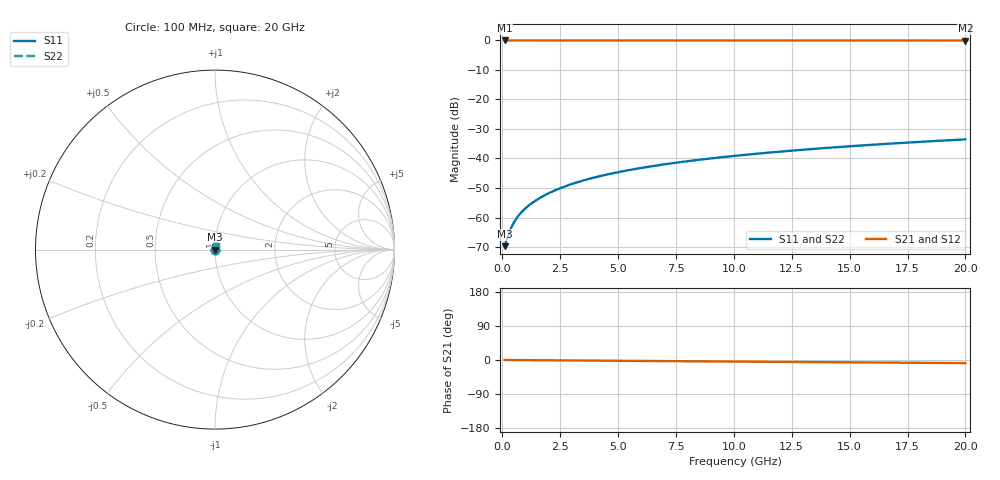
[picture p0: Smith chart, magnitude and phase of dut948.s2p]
! Touchstone file exported from HFSS 2026.1.0
!  File:  C:/ffzhzh/LocalFiles/Ansys_Project_Files/temp_train_TSV_948_1783187226_51560.aedt
!  Generated:  01:48:48 AM Jul  5, 2026
!  Design:  TSV
!  Project:  temp_train_TSV_948_1783187226_51560
! Variables:
!  h_bsmrdl = 2um
!  h_ox = 20um
!  h_rdl = 5um
!  h_sub = 84.06um
!  h_tmrdl = 5um
!  h_tsv = 84.06um
!  h_via = 3um
!  l_bsmrdl = 300um
!  l_sub = 412.42um
!  l_tmrdl = 200um
!  m_sub = 200um
!  pitch = 30.58um
!  r_tsv = 6.21um
!  s_tmrdl = 10um
!  w_bsmrdl = 18um
!  w_sub = 500um
!  w_tmrdl = 12um
!  x_tsv_center1 = 206um
!  x_tsv_center2 = 524um
!  x_tsv_center3 = 736um
!  x_tsv_center4 = 1054um
!  x_tsv_center5 = 1266um
!  x_tsv_center6 = 1584um
# GHz S MA R 50.000000
! Terminal data exported
! Port[1] = TSV1_1_T1
! Port[2] = TSV1_1_T2
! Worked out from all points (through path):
!   200 points, 100 MHz to 20 GHz, reference 50 ohm
!   highest |S21| = 0.00 dB at 100 MHz (marker M1); lowest = 0.0 dB at 20 GHz (marker M2)
!   group delay of S21, straight-line fit = 1.13 ps
!   lowest |S11| = -69.7 dB at 100 MHz (marker M3), VSWR 1.00, Z = 50 + j0.0156 ohm
!   |S11| at or under -10 dB: start of sweep to end of sweep
!   |S22| runs from -69.7 to -33.5 dB; largest |S21 - S12| = 2e-15
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0.1  0.000327 28.4  0.9997 -0.0  0.9997 -0.0  0.000327 28.4
! Gamma 0 0 0 0
! Port Impedance 50 0 50 0
0.3  0.0005572 54.9  0.9997 -0.1  0.9997 -0.1  0.0005572 54.9
0.4  0.0006894 60.0  0.9997 -0.2  0.9997 -0.2  0.0006894 60.0
0.5  0.0008208 63.2  0.9996 -0.2  0.9996 -0.2  0.0008208 63.2
0.6  0.0009491 65.3  0.9996 -0.3  0.9996 -0.3  0.0009491 65.3
0.8  0.001196 68.1  0.9996 -0.3  0.9996 -0.3  0.001196 68.1
1.1  0.001549 70.7  0.9995 -0.5  0.9995 -0.5  0.001549 70.7
1.3  0.001779 72.0  0.9995 -0.5  0.9995 -0.5  0.001779 72.0
1.6  0.002121 73.6  0.9994 -0.7  0.9994 -0.7  0.002121 73.6
2.1  0.002686 75.3  0.9993 -0.9  0.9993 -0.9  0.002686 75.3
2.7  0.003359 76.6  0.9993 -1.1  0.9993 -1.1  0.003359 76.6
3.5  0.004245 77.6  0.9992 -1.5  0.9992 -1.5  0.004245 77.6
4.2  0.005008 78.0  0.9991 -1.7  0.9991 -1.7  0.005008 78.0
5  0.005865 78.3  0.999 -2.1  0.999 -2.1  0.005865 78.3
5.9  0.006816 78.5  0.9989 -2.4  0.9989 -2.4  0.006816 78.5
6.8  0.007755 78.7  0.9988 -2.8  0.9988 -2.8  0.007755 78.7
8.3  0.009305 78.7  0.9987 -3.4  0.9987 -3.4  0.009305 78.7
10.1  0.01115 78.7  0.9985 -4.1  0.9985 -4.1  0.01115 78.7
11.7  0.01278 78.5  0.9984 -4.8  0.9984 -4.8  0.01278 78.5
13.4  0.0145 78.2  0.9983 -5.5  0.9983 -5.5  0.0145 78.2
16.7  0.01781 77.4  0.9981 -6.8  0.9981 -6.8  0.01781 77.4
20  0.02107 76.5  0.9978 -8.2  0.9978 -8.2  0.02107 76.5
